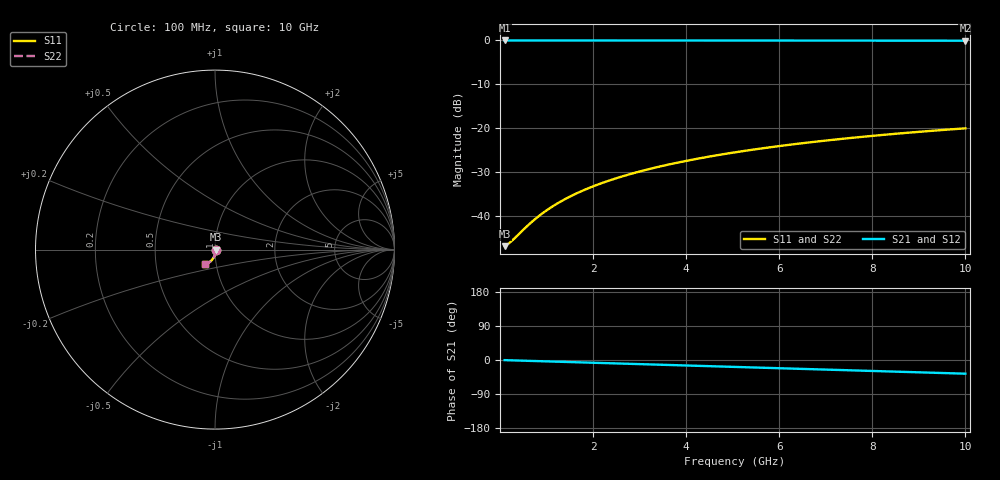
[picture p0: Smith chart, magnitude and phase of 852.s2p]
# Hz S RI R 50.00
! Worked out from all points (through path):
!   100 points, 100 MHz to 10 GHz, reference 50 ohm
!   highest |S21| = -0.04 dB at 100 MHz (marker M1); lowest = -0.1 dB at 10 GHz (marker M2)
!   group delay of S21, straight-line fit = 10 ps
!   lowest |S11| = -46.9 dB at 100 MHz (marker M3), VSWR 1.01, Z = 50.4 - j0.11 ohm
!   |S11| at or under -10 dB: start of sweep to end of sweep
!   |S22| runs from -46.9 to -20.1 dB; largest |S21 - S12| = 0
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1e8  0.00436 -0.00109  0.9956 -0.00629  0.9956 -0.00629  0.00436 -0.00109
2e8  0.00437 -0.00217  0.9955 -0.0126  0.9955 -0.0126  0.00437 -0.00217
3e8  0.00435 -0.00326  0.9954 -0.0189  0.9954 -0.0189  0.00435 -0.00326
5e8  0.00427 -0.00543  0.995 -0.0314  0.995 -0.0314  0.00427 -0.00543
7e8  0.00413 -0.0076  0.9945 -0.044  0.9945 -0.044  0.00413 -0.0076
8e8  0.00403 -0.00868  0.9942 -0.0503  0.9942 -0.0503  0.00403 -0.00868
1e9  0.0038 -0.0108  0.9934 -0.0628  0.9934 -0.0628  0.0038 -0.0108
1.2e9  0.00351 -0.013  0.9925 -0.0754  0.9925 -0.0754  0.00351 -0.013
1.4e9  0.00317 -0.0151  0.9914 -0.0879  0.9914 -0.0879  0.00317 -0.0151
1.6e9  0.00277 -0.0173  0.9902 -0.1004  0.9902 -0.1004  0.00277 -0.0173
1.8e9  0.00232 -0.0194  0.9887 -0.1129  0.9887 -0.1129  0.00232 -0.0194
2.1e9  0.00154 -0.0226  0.9863 -0.1316  0.9863 -0.1316  0.00154 -0.0226
2.5e9  0.000321 -0.0267  0.9825 -0.1564  0.9825 -0.1564  0.000321 -0.0267
2.9e9  -0.00111 -0.0309  0.9781 -0.1812  0.9781 -0.1812  -0.00111 -0.0309
3.4e9  -0.00319 -0.0359  0.9717 -0.2119  0.9717 -0.2119  -0.00319 -0.0359
4.2e9  -0.00715 -0.0436  0.9594 -0.2606  0.9594 -0.2606  -0.00715 -0.0436
5.1e9  -0.0125 -0.0518  0.9425 -0.3145  0.9425 -0.3145  -0.0125 -0.0518
5.9e9  -0.018 -0.0585  0.9249 -0.3614  0.9249 -0.3614  -0.018 -0.0585
6.7e9  -0.0241 -0.0647  0.905 -0.4073  0.905 -0.4073  -0.0241 -0.0647
7.5e9  -0.0309 -0.0702  0.8827 -0.4521  0.8827 -0.4521  -0.0309 -0.0702
8.4e9  -0.039 -0.0755  0.855 -0.501  0.855 -0.501  -0.039 -0.0755
1e10  -0.0548 -0.0826  0.7992 -0.5835  0.7992 -0.5835  -0.0548 -0.0826
